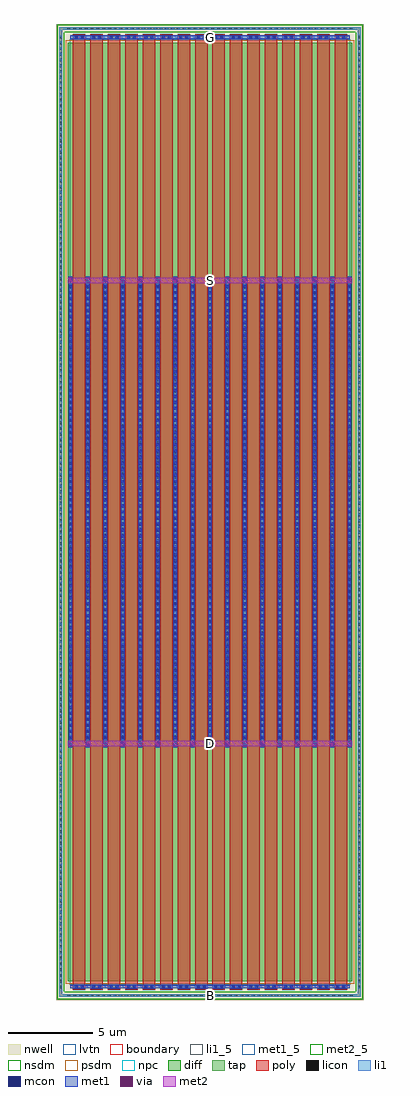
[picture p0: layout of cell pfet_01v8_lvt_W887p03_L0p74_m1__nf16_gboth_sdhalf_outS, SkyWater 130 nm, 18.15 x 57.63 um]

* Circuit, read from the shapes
.subckt pfet_01v8_lvt_W887p03_L0p74_m1__nf16_gboth_sdhalf_outS B D G S
XM1 D G S B sky130_fd_pr__pfet_01v8_lvt w=55.44 l=0.74 m=16
.ends

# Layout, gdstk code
import gdstk
lib = gdstk.Library(unit=1e-6, precision=1e-09)
def R(c, l, rs):  # rectangles x0, y0, x1, y1
    for r in rs: c.add(gdstk.rectangle(r[:2], r[2:], *l))
def A(c, l, x, y, w, h, nx, ny, dx, dy):  # array of equal rectangles
    R(c, l, [(x+i*dx, y+j*dy, x+i*dx+w, y+j*dy+h) for i in range(nx) for j in range(ny)])
nwell = (64, 20)
diff = (65, 20)
tap = (65, 44)
poly = (66, 20)
licon = (66, 44)
li1_5 = (67, 5)
li1 = (67, 20)
mcon = (67, 44)
met1_5 = (68, 5)
met1 = (68, 20)
via = (68, 44)
met2_5 = (69, 5)
met2 = (69, 20)
nsdm = (93, 44)
psdm = (94, 20)
npc = (95, 20)
lvtn = (125, 44)
boundary = (235, 4)

sky130_fd_pr__pfet_01v8_ = lib.new_cell('sky130_fd_pr__pfet_01v8_lvt_XSSCZ5')
R(sky130_fd_pr__pfet_01v8_, nwell, [(-9.075,-28.815,9.075,28.815)])
R(sky130_fd_pr__pfet_01v8_, diff, [(-8.385,-27.72,8.385,27.72)])
R(sky130_fd_pr__pfet_01v8_, tap, [(-8.895,-28.635,8.895,-28.465), (-8.895,-28.465,-8.725,28.465), (8.725,-28.465,8.895,28.465), (-8.895,28.465,8.895,28.635)])
A(sky130_fd_pr__pfet_01v8_, poly, -8.095, -28.205, 0.74, 56.41, 16, 1, 1.03, 0)
A(sky130_fd_pr__pfet_01v8_, licon, -8.415, -28.635, 0.17, 0.17, 50, 2, 0.34, 57.1)
A(sky130_fd_pr__pfet_01v8_, licon, -8.895, -28.135, 0.17, 0.17, 1, 166, 0, 0.34)
A(sky130_fd_pr__pfet_01v8_, licon, 8.725, -28.135, 0.17, 0.17, 1, 166, 0, 0.34)
A(sky130_fd_pr__pfet_01v8_, licon, -8.325, -13.685, 0.17, 0.17, 17, 81, 1.03, 0.34)
R(sky130_fd_pr__pfet_01v8_, licon, [(-7.98,-28.125,-7.81,-27.955), (-7.64,-28.125,-7.47,-27.955), (-6.95,-28.125,-6.78,-27.955), (-6.61,-28.125,-6.44,-27.955), (-5.92,-28.125,-5.75,-27.955), (-5.58,-28.125,-5.41,-27.955), (-4.89,-28.125,-4.72,-27.955), (-4.55,-28.125,-4.38,-27.955), (-3.86,-28.125,-3.69,-27.955), (-3.52,-28.125,-3.35,-27.955), (-2.83,-28.125,-2.66,-27.955), (-2.49,-28.125,-2.32,-27.955), (-1.8,-28.125,-1.63,-27.955), (-1.46,-28.125,-1.29,-27.955), (-0.77,-28.125,-0.6,-27.955), (-0.43,-28.125,-0.26,-27.955), (0.26,-28.125,0.43,-27.955), (0.6,-28.125,0.77,-27.955), (1.29,-28.125,1.46,-27.955), (1.63,-28.125,1.8,-27.955), (2.32,-28.125,2.49,-27.955), (2.66,-28.125,2.83,-27.955), (3.35,-28.125,3.52,-27.955), (3.69,-28.125,3.86,-27.955), (4.38,-28.125,4.55,-27.955), (4.72,-28.125,4.89,-27.955), (5.41,-28.125,5.58,-27.955), (5.75,-28.125,5.92,-27.955), (6.44,-28.125,6.61,-27.955), (6.78,-28.125,6.95,-27.955), (7.47,-28.125,7.64,-27.955), (7.81,-28.125,7.98,-27.955), (-7.98,27.955,-7.81,28.125), (-7.64,27.955,-7.47,28.125), (-6.95,27.955,-6.78,28.125), (-6.61,27.955,-6.44,28.125), (-5.92,27.955,-5.75,28.125), (-5.58,27.955,-5.41,28.125), (-4.89,27.955,-4.72,28.125), (-4.55,27.955,-4.38,28.125), (-3.86,27.955,-3.69,28.125), (-3.52,27.955,-3.35,28.125), (-2.83,27.955,-2.66,28.125), (-2.49,27.955,-2.32,28.125), (-1.8,27.955,-1.63,28.125), (-1.46,27.955,-1.29,28.125), (-0.77,27.955,-0.6,28.125), (-0.43,27.955,-0.26,28.125), (0.26,27.955,0.43,28.125), (0.6,27.955,0.77,28.125), (1.29,27.955,1.46,28.125), (1.63,27.955,1.8,28.125), (2.32,27.955,2.49,28.125), (2.66,27.955,2.83,28.125), (3.35,27.955,3.52,28.125), (3.69,27.955,3.86,28.125), (4.38,27.955,4.55,28.125), (4.72,27.955,4.89,28.125), (5.41,27.955,5.58,28.125), (5.75,27.955,5.92,28.125), (6.44,27.955,6.61,28.125), (6.78,27.955,6.95,28.125), (7.47,27.955,7.64,28.125), (7.81,27.955,7.98,28.125)])
A(sky130_fd_pr__pfet_01v8_, li1, -8.325, -13.91, 0.17, 27.82, 17, 1, 1.03, 0)
R(sky130_fd_pr__pfet_01v8_, li1, [(-8.895,-28.635,8.895,-28.465), (-8.895,-28.465,-8.725,28.465), (8.725,-28.465,8.895,28.465), (-8.24,-28.125,8.24,-27.955), (-8.24,27.955,8.24,28.125), (-8.895,28.465,8.895,28.635)])
A(sky130_fd_pr__pfet_01v8_, mcon, -8.325, -13.765, 0.17, 0.17, 17, 77, 1.03, 0.36)
R(sky130_fd_pr__pfet_01v8_, mcon, [(-7.99,-28.125,-7.82,-27.955), (-7.63,-28.125,-7.46,-27.955), (-6.96,-28.125,-6.79,-27.955), (-6.6,-28.125,-6.43,-27.955), (-5.93,-28.125,-5.76,-27.955), (-5.57,-28.125,-5.4,-27.955), (-4.9,-28.125,-4.73,-27.955), (-4.54,-28.125,-4.37,-27.955), (-3.87,-28.125,-3.7,-27.955), (-3.51,-28.125,-3.34,-27.955), (-2.84,-28.125,-2.67,-27.955), (-2.48,-28.125,-2.31,-27.955), (-1.81,-28.125,-1.64,-27.955), (-1.45,-28.125,-1.28,-27.955), (-0.78,-28.125,-0.61,-27.955), (-0.42,-28.125,-0.25,-27.955), (0.25,-28.125,0.42,-27.955), (0.61,-28.125,0.78,-27.955), (1.28,-28.125,1.45,-27.955), (1.64,-28.125,1.81,-27.955), (2.31,-28.125,2.48,-27.955), (2.67,-28.125,2.84,-27.955), (3.34,-28.125,3.51,-27.955), (3.7,-28.125,3.87,-27.955), (4.37,-28.125,4.54,-27.955), (4.73,-28.125,4.9,-27.955), (5.4,-28.125,5.57,-27.955), (5.76,-28.125,5.93,-27.955), (6.43,-28.125,6.6,-27.955), (6.79,-28.125,6.96,-27.955), (7.46,-28.125,7.63,-27.955), (7.82,-28.125,7.99,-27.955), (-7.99,27.955,-7.82,28.125), (-7.63,27.955,-7.46,28.125), (-6.96,27.955,-6.79,28.125), (-6.6,27.955,-6.43,28.125), (-5.93,27.955,-5.76,28.125), (-5.57,27.955,-5.4,28.125), (-4.9,27.955,-4.73,28.125), (-4.54,27.955,-4.37,28.125), (-3.87,27.955,-3.7,28.125), (-3.51,27.955,-3.34,28.125), (-2.84,27.955,-2.67,28.125), (-2.48,27.955,-2.31,28.125), (-1.81,27.955,-1.64,28.125), (-1.45,27.955,-1.28,28.125), (-0.78,27.955,-0.61,28.125), (-0.42,27.955,-0.25,28.125), (0.25,27.955,0.42,28.125), (0.61,27.955,0.78,28.125), (1.28,27.955,1.45,28.125), (1.64,27.955,1.81,28.125), (2.31,27.955,2.48,28.125), (2.67,27.955,2.84,28.125), (3.34,27.955,3.51,28.125), (3.7,27.955,3.87,28.125), (4.37,27.955,4.54,28.125), (4.73,27.955,4.9,28.125), (5.4,27.955,5.57,28.125), (5.76,27.955,5.93,28.125), (6.43,27.955,6.6,28.125), (6.79,27.955,6.96,28.125), (7.46,27.955,7.63,28.125), (7.82,27.955,7.99,28.125)])
A(sky130_fd_pr__pfet_01v8_, met1, -8.075, -28.155, 0.7, 0.03, 16, 2, 1.03, 0.2)
A(sky130_fd_pr__pfet_01v8_, met1, -8.355, -13.89, 0.23, 27.78, 17, 1, 1.03, 0)
A(sky130_fd_pr__pfet_01v8_, met1, -8.075, 27.925, 0.7, 0.03, 16, 2, 1.03, 0.2)
R(sky130_fd_pr__pfet_01v8_, met1, [(-8.24,-28.125,8.24,-27.955), (-8.24,27.955,8.24,28.125)])
R(sky130_fd_pr__pfet_01v8_, nsdm, [(-9.02,-28.76,9.02,-28.34), (-9.02,-28.34,-8.6,28.34), (8.6,-28.34,9.02,28.34), (-9.02,28.34,9.02,28.76)])
R(sky130_fd_pr__pfet_01v8_, psdm, [(-8.51,-27.845,8.51,27.845)])
A(sky130_fd_pr__pfet_01v8_, npc, -8.08, -28.225, 0.71, 0.37, 16, 2, 1.03, 56.08)
R(sky130_fd_pr__pfet_01v8_, lvtn, [(-8.275,-27.9,8.275,27.9)])
R(sky130_fd_pr__pfet_01v8_, boundary, [(-8.81,-28.55,8.81,28.55)])
sky130_fd_pr__pfet_01v8_.add(gdstk.Label('B', (0,-28.55), layer=67, texttype=5))
sky130_fd_pr__pfet_01v8_.add(gdstk.Label('D0', (-8.24,0), layer=67, texttype=5))
sky130_fd_pr__pfet_01v8_.add(gdstk.Label('G', (7.725,28.04), layer=67, texttype=5))
sky130_fd_pr__pfet_01v8_.add(gdstk.Label('G', (6.695,28.04), layer=67, texttype=5))
sky130_fd_pr__pfet_01v8_.add(gdstk.Label('G', (5.665,28.04), layer=67, texttype=5))
sky130_fd_pr__pfet_01v8_.add(gdstk.Label('G', (4.635,28.04), layer=67, texttype=5))
sky130_fd_pr__pfet_01v8_.add(gdstk.Label('G', (3.605,28.04), layer=67, texttype=5))
sky130_fd_pr__pfet_01v8_.add(gdstk.Label('G', (2.575,28.04), layer=67, texttype=5))
sky130_fd_pr__pfet_01v8_.add(gdstk.Label('G', (1.545,28.04), layer=67, texttype=5))
sky130_fd_pr__pfet_01v8_.add(gdstk.Label('G', (0.515,28.04), layer=67, texttype=5))
sky130_fd_pr__pfet_01v8_.add(gdstk.Label('G', (-0.515,28.04), layer=67, texttype=5))
sky130_fd_pr__pfet_01v8_.add(gdstk.Label('G', (-1.545,28.04), layer=67, texttype=5))
sky130_fd_pr__pfet_01v8_.add(gdstk.Label('G', (-2.575,28.04), layer=67, texttype=5))
sky130_fd_pr__pfet_01v8_.add(gdstk.Label('G', (-3.605,28.04), layer=67, texttype=5))
sky130_fd_pr__pfet_01v8_.add(gdstk.Label('G', (-4.635,28.04), layer=67, texttype=5))
sky130_fd_pr__pfet_01v8_.add(gdstk.Label('G', (-5.665,28.04), layer=67, texttype=5))
sky130_fd_pr__pfet_01v8_.add(gdstk.Label('G', (-6.695,28.04), layer=67, texttype=5))
sky130_fd_pr__pfet_01v8_.add(gdstk.Label('G', (-7.725,28.04), layer=67, texttype=5))
sky130_fd_pr__pfet_01v8_.add(gdstk.Label('S1', (-7.21,0), layer=67, texttype=5))
sky130_fd_pr__pfet_01v8_.add(gdstk.Label('D2', (-6.18,0), layer=67, texttype=5))
sky130_fd_pr__pfet_01v8_.add(gdstk.Label('S3', (-5.15,0), layer=67, texttype=5))
sky130_fd_pr__pfet_01v8_.add(gdstk.Label('D4', (-4.12,0), layer=67, texttype=5))
sky130_fd_pr__pfet_01v8_.add(gdstk.Label('S5', (-3.09,0), layer=67, texttype=5))
sky130_fd_pr__pfet_01v8_.add(gdstk.Label('D6', (-2.06,0), layer=67, texttype=5))
sky130_fd_pr__pfet_01v8_.add(gdstk.Label('S7', (-1.03,0), layer=67, texttype=5))
sky130_fd_pr__pfet_01v8_.add(gdstk.Label('D8', (0,0), layer=67, texttype=5))
sky130_fd_pr__pfet_01v8_.add(gdstk.Label('S9', (1.03,0), layer=67, texttype=5))
sky130_fd_pr__pfet_01v8_.add(gdstk.Label('D10', (2.06,0), layer=67, texttype=5))
sky130_fd_pr__pfet_01v8_.add(gdstk.Label('S11', (3.09,0), layer=67, texttype=5))
sky130_fd_pr__pfet_01v8_.add(gdstk.Label('D12', (4.12,0), layer=67, texttype=5))
sky130_fd_pr__pfet_01v8_.add(gdstk.Label('S13', (5.15,0), layer=67, texttype=5))
sky130_fd_pr__pfet_01v8_.add(gdstk.Label('D14', (6.18,0), layer=67, texttype=5))
sky130_fd_pr__pfet_01v8_.add(gdstk.Label('S15', (7.21,0), layer=67, texttype=5))

pfet_01v8_lvt_w887p03_l0 = lib.new_cell('pfet_01v8_lvt_W887p03_L0p74_m1__nf16_gboth_sdhalf_outS')
R(pfet_01v8_lvt_w887p03_l0, li1_5, [(8.725,-0.085,8.895,0.085)])
R(pfet_01v8_lvt_w887p03_l0, li1, [(8.725,-0.085,8.895,0.085)])
R(pfet_01v8_lvt_w887p03_l0, met1_5, [(0.57,56.475,17.05,56.705)])
A(pfet_01v8_lvt_w887p03_l0, met1, 1.47, 14.71, 0.26, 0.32, 8, 1, 2.06, 0)
A(pfet_01v8_lvt_w887p03_l0, met1, 0.44, 42.07, 0.26, 0.32, 9, 1, 2.06, 0)
R(pfet_01v8_lvt_w887p03_l0, met1, [(0.57,56.475,17.05,56.705)])
A(pfet_01v8_lvt_w887p03_l0, via, 1.525, 14.795, 0.15, 0.15, 8, 1, 2.06, 0)
A(pfet_01v8_lvt_w887p03_l0, via, 0.495, 42.155, 0.15, 0.15, 9, 1, 2.06, 0)
R(pfet_01v8_lvt_w887p03_l0, met2_5, [(0.435,14.71,17.185,15.03), (0.435,42.07,17.185,42.39)])
R(pfet_01v8_lvt_w887p03_l0, met2, [(0.435,14.71,17.185,15.03), (0.435,42.07,17.185,42.39)])
pfet_01v8_lvt_w887p03_l0.add(gdstk.Reference(sky130_fd_pr__pfet_01v8_, (8.81,28.55)))
pfet_01v8_lvt_w887p03_l0.add(gdstk.Label('S', (8.81,42.23), layer=69, texttype=5))
pfet_01v8_lvt_w887p03_l0.add(gdstk.Label('D', (8.81,14.87), layer=69, texttype=5))
pfet_01v8_lvt_w887p03_l0.add(gdstk.Label('G', (8.81,56.59), layer=68, texttype=5))
pfet_01v8_lvt_w887p03_l0.add(gdstk.Label('B', (8.81,0), layer=67, texttype=5))

lib.write_gds('pfet_01v8_lvt_W887p03_L0p74_m1__nf16_gboth_sdhalf_outS.gds')
